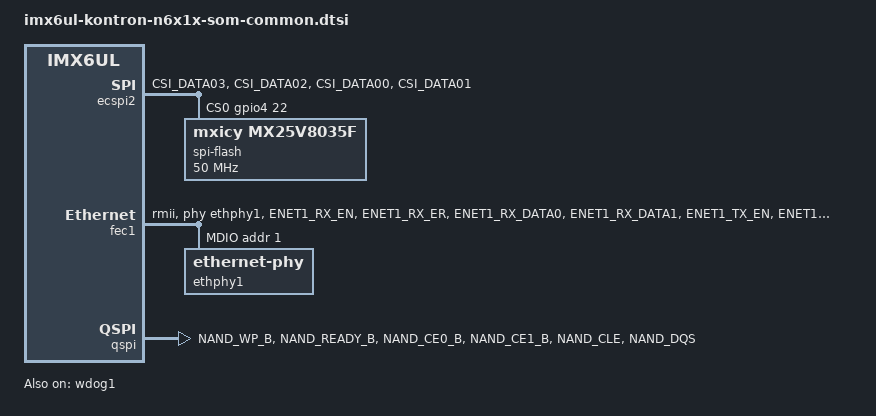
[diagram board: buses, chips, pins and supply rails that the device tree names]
// SPDX-License-Identifier: GPL-2.0
/*
 * Copyright (C) 2017 exceet electronics GmbH
 * Copyright (C) 2018 Kontron Electronics GmbH
 * Copyright (c) 2019 Krzysztof Kozlowski <krzk@kernel.org>
 */

#include <dt-bindings/gpio/gpio.h>

/ {
	chosen {
		stdout-path = &uart4;
	};
};

&ecspi2 {
	cs-gpios = <&gpio4 22 GPIO_ACTIVE_HIGH>;
	pinctrl-names = "default";
	pinctrl-0 = <&pinctrl_ecspi2>;
	status = "okay";

	spi-flash@0 {
		compatible = "mxicy,mx25v8035f", "jedec,spi-nor";
		spi-max-frequency = <50000000>;
		reg = <0>;
	};
};

&fec1 {
	pinctrl-names = "default";
	pinctrl-0 = <&pinctrl_enet1 &pinctrl_enet1_mdio>;
	phy-mode = "rmii";
	phy-handle = <&ethphy1>;
	status = "okay";

	mdio {
		#address-cells = <1>;
		#size-cells = <0>;

		ethphy1: ethernet-phy@1 {
			reg = <1>;
			micrel,led-mode = <0>;
			clocks = <&clks IMX6UL_CLK_ENET_REF>;
			clock-names = "rmii-ref";
		};
	};
};

&fec2 {
	phy-mode = "rmii";
	status = "disabled";
};

&qspi {
	pinctrl-names = "default";
	pinctrl-0 = <&pinctrl_qspi>;
	status = "okay";
};

&wdog1 {
	pinctrl-names = "default";
	pinctrl-0 = <&pinctrl_wdog>;
	fsl,ext-reset-output;
	status = "okay";
};

&iomuxc {
	pinctrl-names = "default";
	pinctrl-0 = <&pinctrl_reset_out>;

	pinctrl_ecspi2: ecspi2grp {
		fsl,pins = <
			MX6UL_PAD_CSI_DATA03__ECSPI2_MISO      0x100b1
			MX6UL_PAD_CSI_DATA02__ECSPI2_MOSI      0x100b1
			MX6UL_PAD_CSI_DATA00__ECSPI2_SCLK      0x100b1
			MX6UL_PAD_CSI_DATA01__GPIO4_IO22       0x100b1
		>;
	};

	pinctrl_enet1: enet1grp {
		fsl,pins = <
			MX6UL_PAD_ENET1_RX_EN__ENET1_RX_EN      0x1b0b0
			MX6UL_PAD_ENET1_RX_ER__ENET1_RX_ER      0x1b0b0
			MX6UL_PAD_ENET1_RX_DATA0__ENET1_RDATA00 0x1b0b0
			MX6UL_PAD_ENET1_RX_DATA1__ENET1_RDATA01 0x1b0b0
			MX6UL_PAD_ENET1_TX_EN__ENET1_TX_EN      0x1b0b0
			MX6UL_PAD_ENET1_TX_DATA0__ENET1_TDATA00 0x1b0b0
			MX6UL_PAD_ENET1_TX_DATA1__ENET1_TDATA01 0x1b0b0
			MX6UL_PAD_ENET1_TX_CLK__ENET1_REF_CLK1  0x4001b009
		>;
	};

	pinctrl_enet1_mdio: enet1mdiogrp {
		fsl,pins = <
			MX6UL_PAD_GPIO1_IO07__ENET1_MDC         0x1b0b0
			MX6UL_PAD_GPIO1_IO06__ENET1_MDIO        0x1b0b0
		>;
	};

	pinctrl_qspi: qspigrp {
		fsl,pins = <
			MX6UL_PAD_NAND_WP_B__QSPI_A_SCLK        0x70a1
			MX6UL_PAD_NAND_READY_B__QSPI_A_DATA00   0x70a1
			MX6UL_PAD_NAND_CE0_B__QSPI_A_DATA01     0x70a1
			MX6UL_PAD_NAND_CE1_B__QSPI_A_DATA02     0x70a1
			MX6UL_PAD_NAND_CLE__QSPI_A_DATA03       0x70a1
			MX6UL_PAD_NAND_DQS__QSPI_A_SS0_B        0x70a1
		>;
	};

	pinctrl_reset_out: rstoutgrp {
		fsl,pins = <
			MX6UL_PAD_SNVS_TAMPER9__GPIO5_IO09      0x1b0b0
		>;
	};

	pinctrl_wdog: wdoggrp {
		fsl,pins = <
			MX6UL_PAD_GPIO1_IO09__WDOG1_WDOG_ANY    0x18b0
		>;
	};
};
